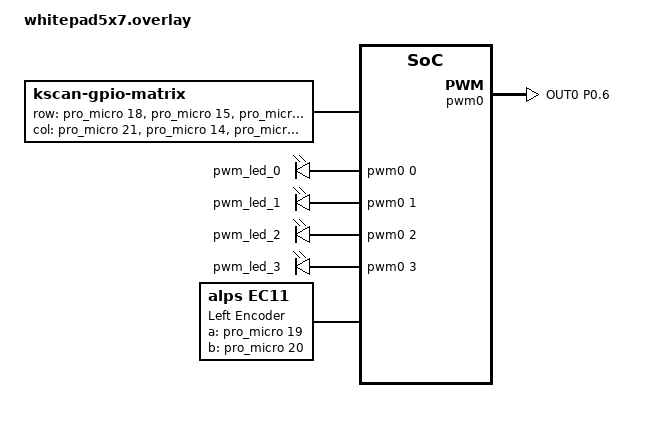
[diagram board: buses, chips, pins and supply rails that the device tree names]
#include <dt-bindings/zmk/matrix_transform.h>

&pwm0 {
    status = "okay";
    pinctrl-0 = <&pwm0_default>;
    pinctrl-1 = <&pwm1_default>;
    pinctrl-2 = <&pwm2_default>;
    pinctrl-3 = <&pwm3_default>;
    pinctrl-names = "default", "default", "default", "default";
};

&pinctrl {
    pwm0_default: pwm0_default {
        group1 {
            psels = <NRF_PSEL(PWM_OUT0, 0, 6)>;
            nordic,invert; 
	    };
    };

    pwm1_default: pwm1_default {
        group1 {
            psels = <NRF_PSEL(PWM_OUT0, 0, 17)>;
	    };
    };

    pwm2_default: pwm2_default {
        group1 {
            psels = <NRF_PSEL(PWM_OUT0, 0, 15)>;
	    };
    };

    pwm3_default: pwm3_default {
        group1 {
            psels = <NRF_PSEL(PWM_OUT0, 0, 8)>;
	    };
    };
};

/ {
    chosen {
        zmk,kscan = &kscan0;
        zmk,backlight = &backlight;
    };

    kscan0: kscan {
        compatible = "zmk,kscan-gpio-matrix";
        label = "KSCAN";
        diode-direction = "col2row";

         row-gpios
            = <&pro_micro 18 (GPIO_ACTIVE_HIGH | GPIO_PULL_DOWN)>
            , <&pro_micro 15 (GPIO_ACTIVE_HIGH | GPIO_PULL_DOWN)>
            , <&pro_micro 6 (GPIO_ACTIVE_HIGH | GPIO_PULL_DOWN)>
            , <&pro_micro 5 (GPIO_ACTIVE_HIGH | GPIO_PULL_DOWN)>
            , <&pro_micro 4 (GPIO_ACTIVE_HIGH | GPIO_PULL_DOWN)>
            ;

        col-gpios
            = <&pro_micro 21 GPIO_ACTIVE_HIGH>
            , <&pro_micro 14 GPIO_ACTIVE_HIGH>
            , <&pro_micro 16 GPIO_ACTIVE_HIGH>
            , <&pro_micro 10 GPIO_ACTIVE_HIGH>
            , <&pro_micro 7 GPIO_ACTIVE_HIGH>
            , <&pro_micro 8 GPIO_ACTIVE_HIGH>
            , <&pro_micro 9 GPIO_ACTIVE_HIGH>
            ;
    };

    backlight: pwmleds {
        compatible = "pwm-leds";
        pwm_led_0 {
            pwms = <&pwm0 0 10000 PWM_POLARITY_NORMAL>;
        };

        pwm_led_1 {
            pwms = <&pwm0 1 10000 PWM_POLARITY_NORMAL>;
        };

        pwm_led_2 {
            pwms = <&pwm0 2 10000 PWM_POLARITY_NORMAL>;
        };

        pwm_led_3 {
            pwms = <&pwm0 3 10000 PWM_POLARITY_NORMAL>;
        };
    };

    left_encoder: left_encoder {
        compatible = "alps,ec11";
        label = "Left Encoder";
        a-gpios = <&pro_micro 19 (GPIO_ACTIVE_HIGH | GPIO_PULL_UP)>;
        b-gpios = <&pro_micro 20 (GPIO_ACTIVE_HIGH | GPIO_PULL_UP)>;
        steps = <80>;
        status = "okay";
    };

};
